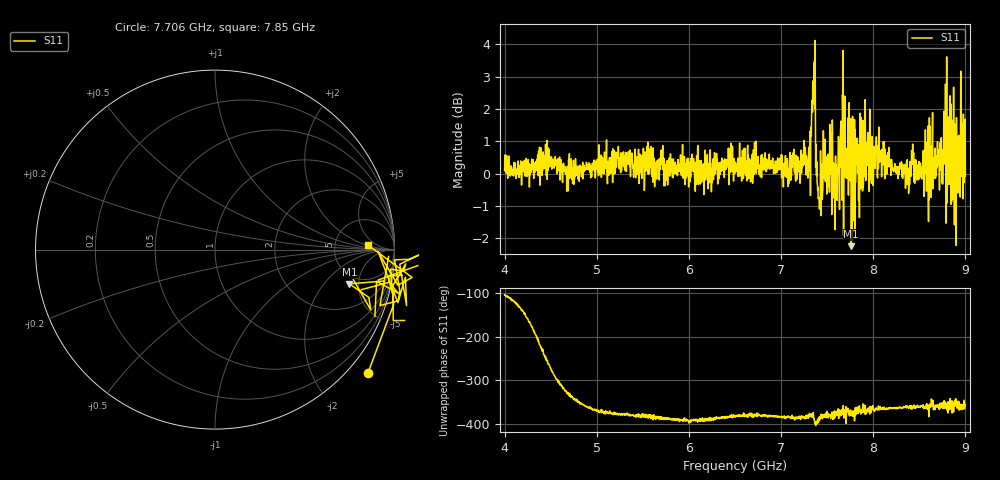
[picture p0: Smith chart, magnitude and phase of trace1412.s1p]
! Created with skrf 1.8.0 (http://scikit-rf.org).
# Hz S RI R 50.0
!freq ReS11 ImS11
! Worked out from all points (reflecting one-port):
!   1601 points, 4 GHz to 9 GHz, reference 50 ohm
!   lowest |S11| = -2.2 dB at 7.762 GHz (marker M1), VSWR 7.80, Z = 202 - j192 ohm
!   phase of S11 starts at -105 deg and turns -251 deg over the sweep
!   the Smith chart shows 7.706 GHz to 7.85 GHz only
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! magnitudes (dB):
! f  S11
! 4 GHz  0.1
! 4.469 GHz  0.4
! 4.625 GHz  -0.2
! 5.25 GHz  0.3
! 5.875 GHz  -0.1
! 6.5 GHz  0.0
! 7.125 GHz  0.5
! 7.294 GHz  0.2
! 7.347 GHz  2.6
! 7.369 GHz  4.1
! 7.4 GHz  -0.4
! 7.409 GHz  -0.7
! 7.512 GHz  0.6
! 7.609 GHz  -0.8
! 7.669 GHz  2.0
! 7.75 GHz  -0.2
! 7.762 GHz  -2.2
! 7.784 GHz  -0.7
! 7.8 GHz  -1.7
! 7.938 GHz  0.8
! 8.375 GHz  -0.1
! 8.441 GHz  -0.2
! 8.497 GHz  0.4
! 8.672 GHz  0.8
! 8.788 GHz  -0.8
! 8.875 GHz  0.1
! 8.972 GHz  0.7
! 9 GHz  -0.1
